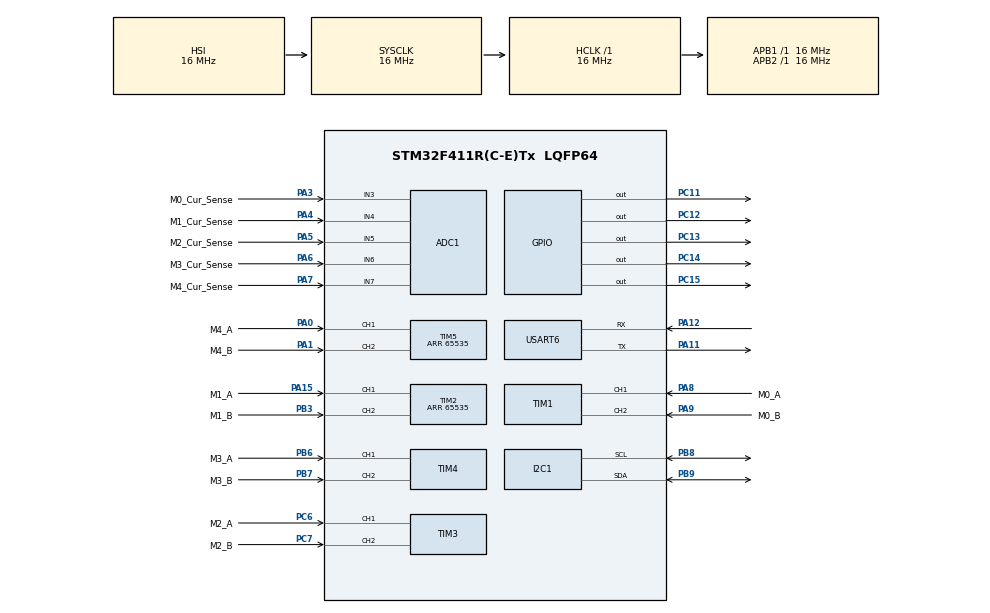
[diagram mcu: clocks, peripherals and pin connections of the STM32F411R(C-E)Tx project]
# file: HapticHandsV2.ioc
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ADC1.Channel-0\#ChannelRegularConversion=ADC_CHANNEL_3
ADC1.NbrOfConversionFlag=1
ADC1.Rank-0\#ChannelRegularConversion=1
ADC1.SamplingTime-0\#ChannelRegularConversion=ADC_SAMPLETIME_3CYCLES
ADC1.master=1
FREERTOS.Tasks01=defaultTask,24,128,StartDefaultTask,Default,NULL,Dynamic,NULL,NULL;readEncoder,8,128,ReadEncoder,Default,NULL,Dynamic,NULL,NULL
FREERTOS.configENABLE_FPU=1
Mcu.Family=STM32F4
Mcu.Name=STM32F411R(C-E)Tx
Mcu.Package=LQFP64
NVIC.PriorityGroup=NVIC_PRIORITYGROUP_4
PA0-WKUP.GPIO_Label=M4_A
PA0-WKUP.Signal=S_TIM5_CH1
PA1.GPIO_Label=M4_B
PA1.Signal=S_TIM5_CH2
PA11.Mode=Asynchronous
PA11.Signal=USART6_TX
PA12.Mode=Asynchronous
PA12.Signal=USART6_RX
PA13.Signal=SYS_JTMS-SWDIO
PA14.Signal=SYS_JTCK-SWCLK
PA15.GPIO_Label=M1_A
PA15.Signal=S_TIM2_CH1_ETR
PA3.GPIO_Label=M0_Cur_Sense
PA3.Signal=ADCx_IN3
PA4.GPIO_Label=M1_Cur_Sense
PA4.Signal=ADCx_IN4
PA5.GPIO_Label=M2_Cur_Sense
PA5.Signal=ADCx_IN5
PA6.GPIO_Label=M3_Cur_Sense
PA6.Signal=ADCx_IN6
PA7.GPIO_Label=M4_Cur_Sense
PA7.Signal=ADCx_IN7
PA8.GPIO_Label=M0_A
PA8.Signal=S_TIM1_CH1
PA9.GPIO_Label=M0_B
PA9.Signal=S_TIM1_CH2
PB3.GPIO_Label=M1_B
PB3.Signal=S_TIM2_CH2
PB6.GPIO_Label=M3_A
PB6.Signal=S_TIM4_CH1
PB7.GPIO_Label=M3_B
PB7.Signal=S_TIM4_CH2
PB8.Mode=I2C
PB8.Signal=I2C1_SCL
PB9.Mode=I2C
PB9.Signal=I2C1_SDA
PC11.Signal=GPIO_Output
PC12.Signal=GPIO_Output
PC13-ANTI_TAMP.Signal=GPIO_Output
PC14-OSC32_IN.Signal=GPIO_Output
PC15-OSC32_OUT.Signal=GPIO_Output
PC6.GPIO_Label=M2_A
PC6.Signal=S_TIM3_CH1
PC7.GPIO_Label=M2_B
PC7.Signal=S_TIM3_CH2
ProjectManager.HeapSize=0x200
ProjectManager.StackSize=0x400
ProjectManager.TargetToolchain=STM32CubeIDE
RCC.AHBFreq_Value=16000000
RCC.APB1Freq_Value=16000000
RCC.APB2Freq_Value=16000000
RCC.CortexFreq_Value=16000000
RCC.HSE_VALUE=25000000
RCC.HSI_VALUE=16000000
RCC.LSE_VALUE=32768
RCC.SYSCLKFreq_VALUE=16000000
RCC.VCOOutputFreq_Value=192000000
SH.ADCx_IN3.0=ADC1_IN3,IN3
SH.ADCx_IN4.0=ADC1_IN4,IN4
SH.ADCx_IN5.0=ADC1_IN5,IN5
SH.ADCx_IN6.0=ADC1_IN6,IN6
SH.ADCx_IN7.0=ADC1_IN7,IN7
SH.S_TIM1_CH1.0=TIM1_CH1,Encoder_Interface
SH.S_TIM1_CH2.0=TIM1_CH2,Encoder_Interface
SH.S_TIM2_CH1_ETR.0=TIM2_CH1,Encoder_Interface
SH.S_TIM2_CH2.0=TIM2_CH2,Encoder_Interface
SH.S_TIM3_CH1.0=TIM3_CH1,Encoder_Interface
SH.S_TIM3_CH2.0=TIM3_CH2,Encoder_Interface
SH.S_TIM4_CH1.0=TIM4_CH1,Encoder_Interface
SH.S_TIM4_CH2.0=TIM4_CH2,Encoder_Interface
SH.S_TIM5_CH1.0=TIM5_CH1,Encoder_Interface
SH.S_TIM5_CH2.0=TIM5_CH2,Encoder_Interface
TIM1.AutoReloadPreload=TIM_AUTORELOAD_PRELOAD_ENABLE
TIM2.AutoReloadPreload=TIM_AUTORELOAD_PRELOAD_ENABLE
TIM2.EncoderMode=TIM_ENCODERMODE_TI12
TIM2.Period=65535
TIM3.AutoReloadPreload=TIM_AUTORELOAD_PRELOAD_ENABLE
TIM3.EncoderMode=TIM_ENCODERMODE_TI12
TIM4.AutoReloadPreload=TIM_AUTORELOAD_PRELOAD_ENABLE
TIM4.EncoderMode=TIM_ENCODERMODE_TI12
TIM5.AutoReloadPreload=TIM_AUTORELOAD_PRELOAD_ENABLE
TIM5.EncoderMode=TIM_ENCODERMODE_TI12
TIM5.Period=65535
USART6.VirtualMode=VM_ASYNC
VP_FREERTOS_VS_CMSIS_V2.Mode=CMSIS_V2
board=custom

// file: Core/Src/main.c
/* USER CODE BEGIN Header */
/**
  ******************************************************************************
  * @file           : main.c
  * @brief          : Main program body
  ******************************************************************************
  * @attention
  *
  * Copyright (c) 2024 STMicroelectronics.
  * All rights reserved.
  *
  * This software is licensed under terms that can be found in the LICENSE file
  * in the root directory of this software component.
  * If no LICENSE file comes with this software, it is provided AS-IS.
  *
  ******************************************************************************
  */
/* USER CODE END Header */
#include "main.h"
#include "cmsis_os.h"

ADC_HandleTypeDef hadc1;

I2C_HandleTypeDef hi2c1;

TIM_HandleTypeDef htim1;
TIM_HandleTypeDef htim2;
TIM_HandleTypeDef htim3;
TIM_HandleTypeDef htim4;
TIM_HandleTypeDef htim5;

UART_HandleTypeDef huart6;

/* Definitions for defaultTask */
osThreadId_t defaultTaskHandle;
const osThreadAttr_t defaultTask_attributes = {
  .name = "defaultTask",
  .stack_size = 128 * 4,
  .priority = (osPriority_t) osPriorityNormal,
};
/* Definitions for readEncoder */
osThreadId_t readEncoderHandle;
const osThreadAttr_t readEncoder_attributes = {
  .name = "readEncoder",
  .stack_size = 128 * 4,
  .priority = (osPriority_t) osPriorityLow,
};
/* USER CODE BEGIN PV */

uint16_t EncoderCounts[5] = {};

/* USER CODE END PV */

void SystemClock_Config(void);
static void MX_GPIO_Init(void);
static void MX_ADC1_Init(void);
static void MX_TIM1_Init(void);
static void MX_TIM2_Init(void);
static void MX_TIM3_Init(void);
static void MX_TIM4_Init(void);
static void MX_TIM5_Init(void);
static void MX_USART6_UART_Init(void);
static void MX_I2C1_Init(void);
void StartDefaultTask(void *argument);
void ReadEncoder(void *argument);

int main(void)
{

  /* MCU Configuration--------------------------------------------------------*/

  /* Reset of all peripherals, Initializes the Flash interface and the Systick. */
  HAL_Init();

  /* Configure the system clock */
  SystemClock_Config();

  /* Initialize all configured peripherals */
  MX_GPIO_Init();
  MX_ADC1_Init();
  MX_TIM1_Init();
  MX_TIM2_Init();
  MX_TIM3_Init();
  MX_TIM4_Init();
  MX_TIM5_Init();
  MX_USART6_UART_Init();
  MX_I2C1_Init();
  /* USER CODE BEGIN 2 */

  // Initialize NVIC Priority group
  // Required for proper priority control between tasks and interrupts
  // See configASSERT in port.c for more info
  NVIC_SetPriorityGrouping(0);

  // Start all encoders
  HAL_TIM_Encoder_Start(&htim1, TIM_CHANNEL_ALL);
  HAL_TIM_Encoder_Start(&htim2, TIM_CHANNEL_ALL);
  HAL_TIM_Encoder_Start(&htim3, TIM_CHANNEL_ALL);
  HAL_TIM_Encoder_Start(&htim4, TIM_CHANNEL_ALL);
  HAL_TIM_Encoder_Start(&htim5, TIM_CHANNEL_ALL);

  /* USER CODE END 2 */

  /* Init scheduler */
  osKernelInitialize();

  /* Create the thread(s) */
  /* creation of defaultTask */
  defaultTaskHandle = osThreadNew(StartDefaultTask, NULL, &defaultTask_attributes);

  /* creation of readEncoder */
  readEncoderHandle = osThreadNew(ReadEncoder, NULL, &readEncoder_attributes);

  /* Start scheduler */
  osKernelStart();

  /* We should never get here as control is now taken by the scheduler */
  /* Infinite loop */
  while (1)
  {

  }
}

void SystemClock_Config(void)
{
  RCC_OscInitTypeDef RCC_OscInitStruct = {0};
  RCC_ClkInitTypeDef RCC_ClkInitStruct = {0};

  /** Configure the main internal regulator output voltage
  */
  __HAL_RCC_PWR_CLK_ENABLE();
  __HAL_PWR_VOLTAGESCALING_CONFIG(PWR_REGULATOR_VOLTAGE_SCALE1);

  /** Initializes the RCC Oscillators according to the specified parameters
  * in the RCC_OscInitTypeDef structure.
  */
  RCC_OscInitStruct.OscillatorType = RCC_OSCILLATORTYPE_HSI;
  RCC_OscInitStruct.HSIState = RCC_HSI_ON;
  RCC_OscInitStruct.HSICalibrationValue = RCC_HSICALIBRATION_DEFAULT;
  RCC_OscInitStruct.PLL.PLLState = RCC_PLL_NONE;
  if (HAL_RCC_OscConfig(&RCC_OscInitStruct) != HAL_OK)
  {
    Error_Handler();
  }

  /** Initializes the CPU, AHB and APB buses clocks
  */
  RCC_ClkInitStruct.ClockType = RCC_CLOCKTYPE_HCLK|RCC_CLOCKTYPE_SYSCLK
                              |RCC_CLOCKTYPE_PCLK1|RCC_CLOCKTYPE_PCLK2;
  RCC_ClkInitStruct.SYSCLKSource = RCC_SYSCLKSOURCE_HSI;
  RCC_ClkInitStruct.AHBCLKDivider = RCC_SYSCLK_DIV1;
  RCC_ClkInitStruct.APB1CLKDivider = RCC_HCLK_DIV1;
  RCC_ClkInitStruct.APB2CLKDivider = RCC_HCLK_DIV1;

  if (HAL_RCC_ClockConfig(&RCC_ClkInitStruct, FLASH_LATENCY_0) != HAL_OK)
  {
    Error_Handler();
  }
}

static void MX_ADC1_Init(void)
{

  ADC_ChannelConfTypeDef sConfig = {0};

  /** Configure the global features of the ADC (Clock, Resolution, Data Alignment and number of conversion)
  */
  hadc1.Instance = ADC1;
  hadc1.Init.ClockPrescaler = ADC_CLOCK_SYNC_PCLK_DIV2;
  hadc1.Init.Resolution = ADC_RESOLUTION_12B;
  hadc1.Init.ScanConvMode = DISABLE;
  hadc1.Init.ContinuousConvMode = DISABLE;
  hadc1.Init.DiscontinuousConvMode = DISABLE;
  hadc1.Init.ExternalTrigConvEdge = ADC_EXTERNALTRIGCONVEDGE_NONE;
  hadc1.Init.ExternalTrigConv = ADC_SOFTWARE_START;
  hadc1.Init.DataAlign = ADC_DATAALIGN_RIGHT;
  hadc1.Init.NbrOfConversion = 1;
  hadc1.Init.DMAContinuousRequests = DISABLE;
  hadc1.Init.EOCSelection = ADC_EOC_SINGLE_CONV;
  if (HAL_ADC_Init(&hadc1) != HAL_OK)
  {
    Error_Handler();
  }

  /** Configure for the selected ADC regular channel its corresponding rank in the sequencer and its sample time.
  */
  sConfig.Channel = ADC_CHANNEL_3;
  sConfig.Rank = 1;
  sConfig.SamplingTime = ADC_SAMPLETIME_3CYCLES;
  if (HAL_ADC_ConfigChannel(&hadc1, &sConfig) != HAL_OK)
  {
    Error_Handler();
  }

}

static void MX_I2C1_Init(void)
{

  hi2c1.Instance = I2C1;
  hi2c1.Init.ClockSpeed = 100000;
  hi2c1.Init.DutyCycle = I2C_DUTYCYCLE_2;
  hi2c1.Init.OwnAddress1 = 0;
  hi2c1.Init.AddressingMode = I2C_ADDRESSINGMODE_7BIT;
  hi2c1.Init.DualAddressMode = I2C_DUALADDRESS_DISABLE;
  hi2c1.Init.OwnAddress2 = 0;
  hi2c1.Init.GeneralCallMode = I2C_GENERALCALL_DISABLE;
  hi2c1.Init.NoStretchMode = I2C_NOSTRETCH_DISABLE;
  if (HAL_I2C_Init(&hi2c1) != HAL_OK)
  {
    Error_Handler();
  }

}

static void MX_TIM1_Init(void)
{

  TIM_Encoder_InitTypeDef sConfig = {0};
  TIM_MasterConfigTypeDef sMasterConfig = {0};

  htim1.Instance = TIM1;
  htim1.Init.Prescaler = 0;
  htim1.Init.CounterMode = TIM_COUNTERMODE_UP;
  htim1.Init.Period = 65535;
  htim1.Init.ClockDivision = TIM_CLOCKDIVISION_DIV1;
  htim1.Init.RepetitionCounter = 0;
  htim1.Init.AutoReloadPreload = TIM_AUTORELOAD_PRELOAD_ENABLE;
  sConfig.EncoderMode = TIM_ENCODERMODE_TI1;
  sConfig.IC1Polarity = TIM_ICPOLARITY_RISING;
  sConfig.IC1Selection = TIM_ICSELECTION_DIRECTTI;
  sConfig.IC1Prescaler = TIM_ICPSC_DIV1;
  sConfig.IC1Filter = 0;
  sConfig.IC2Polarity = TIM_ICPOLARITY_RISING;
  sConfig.IC2Selection = TIM_ICSELECTION_DIRECTTI;
  sConfig.IC2Prescaler = TIM_ICPSC_DIV1;
  sConfig.IC2Filter = 0;
  if (HAL_TIM_Encoder_Init(&htim1, &sConfig) != HAL_OK)
  {
    Error_Handler();
  }
  sMasterConfig.MasterOutputTrigger = TIM_TRGO_RESET;
  sMasterConfig.MasterSlaveMode = TIM_MASTERSLAVEMODE_DISABLE;
  if (HAL_TIMEx_MasterConfigSynchronization(&htim1, &sMasterConfig) != HAL_OK)
  {
    Error_Handler();
  }

}

static void MX_TIM2_Init(void)
{

  TIM_Encoder_InitTypeDef sConfig = {0};
  TIM_MasterConfigTypeDef sMasterConfig = {0};

  htim2.Instance = TIM2;
  htim2.Init.Prescaler = 0;
  htim2.Init.CounterMode = TIM_COUNTERMODE_UP;
  htim2.Init.Period = 65535;
  htim2.Init.ClockDivision = TIM_CLOCKDIVISION_DIV1;
  htim2.Init.AutoReloadPreload = TIM_AUTORELOAD_PRELOAD_ENABLE;
  sConfig.EncoderMode = TIM_ENCODERMODE_TI12;
  sConfig.IC1Polarity = TIM_ICPOLARITY_RISING;
  sConfig.IC1Selection = TIM_ICSELECTION_DIRECTTI;
  sConfig.IC1Prescaler = TIM_ICPSC_DIV1;
  sConfig.IC1Filter = 0;
  sConfig.IC2Polarity = TIM_ICPOLARITY_RISING;
  sConfig.IC2Selection = TIM_ICSELECTION_DIRECTTI;
  sConfig.IC2Prescaler = TIM_ICPSC_DIV1;
  sConfig.IC2Filter = 0;
  if (HAL_TIM_Encoder_Init(&htim2, &sConfig) != HAL_OK)
  {
    Error_Handler();
  }
  sMasterConfig.MasterOutputTrigger = TIM_TRGO_RESET;
  sMasterConfig.MasterSlaveMode = TIM_MASTERSLAVEMODE_DISABLE;
  if (HAL_TIMEx_MasterConfigSynchronization(&htim2, &sMasterConfig) != HAL_OK)
  {
    Error_Handler();
  }

}

static void MX_TIM3_Init(void)
{

  TIM_Encoder_InitTypeDef sConfig = {0};
  TIM_MasterConfigTypeDef sMasterConfig = {0};

  htim3.Instance = TIM3;
  htim3.Init.Prescaler = 0;
  htim3.Init.CounterMode = TIM_COUNTERMODE_UP;
  htim3.Init.Period = 65535;
  htim3.Init.ClockDivision = TIM_CLOCKDIVISION_DIV1;
  htim3.Init.AutoReloadPreload = TIM_AUTORELOAD_PRELOAD_ENABLE;
  sConfig.EncoderMode = TIM_ENCODERMODE_TI12;
  sConfig.IC1Polarity = TIM_ICPOLARITY_RISING;
  sConfig.IC1Selection = TIM_ICSELECTION_DIRECTTI;
  sConfig.IC1Prescaler = TIM_ICPSC_DIV1;
  sConfig.IC1Filter = 0;
  sConfig.IC2Polarity = TIM_ICPOLARITY_RISING;
  sConfig.IC2Selection = TIM_ICSELECTION_DIRECTTI;
  sConfig.IC2Prescaler = TIM_ICPSC_DIV1;
  sConfig.IC2Filter = 0;
  if (HAL_TIM_Encoder_Init(&htim3, &sConfig) != HAL_OK)
  {
    Error_Handler();
  }
  sMasterConfig.MasterOutputTrigger = TIM_TRGO_RESET;
  sMasterConfig.MasterSlaveMode = TIM_MASTERSLAVEMODE_DISABLE;
  if (HAL_TIMEx_MasterConfigSynchronization(&htim3, &sMasterConfig) != HAL_OK)
  {
    Error_Handler();
  }

}

static void MX_TIM4_Init(void)
{

  TIM_Encoder_InitTypeDef sConfig = {0};
  TIM_MasterConfigTypeDef sMasterConfig = {0};

  htim4.Instance = TIM4;
  htim4.Init.Prescaler = 0;
  htim4.Init.CounterMode = TIM_COUNTERMODE_UP;
  htim4.Init.Period = 65535;
  htim4.Init.ClockDivision = TIM_CLOCKDIVISION_DIV1;
  htim4.Init.AutoReloadPreload = TIM_AUTORELOAD_PRELOAD_ENABLE;
  sConfig.EncoderMode = TIM_ENCODERMODE_TI12;
  sConfig.IC1Polarity = TIM_ICPOLARITY_RISING;
  sConfig.IC1Selection = TIM_ICSELECTION_DIRECTTI;
  sConfig.IC1Prescaler = TIM_ICPSC_DIV1;
  sConfig.IC1Filter = 0;
  sConfig.IC2Polarity = TIM_ICPOLARITY_RISING;
  sConfig.IC2Selection = TIM_ICSELECTION_DIRECTTI;
  sConfig.IC2Prescaler = TIM_ICPSC_DIV1;
  sConfig.IC2Filter = 0;
  if (HAL_TIM_Encoder_Init(&htim4, &sConfig) != HAL_OK)
  {
    Error_Handler();
  }
  sMasterConfig.MasterOutputTrigger = TIM_TRGO_RESET;
  sMasterConfig.MasterSlaveMode = TIM_MASTERSLAVEMODE_DISABLE;
  if (HAL_TIMEx_MasterConfigSynchronization(&htim4, &sMasterConfig) != HAL_OK)
  {
    Error_Handler();
  }

}

static void MX_TIM5_Init(void)
{

  TIM_Encoder_InitTypeDef sConfig = {0};
  TIM_MasterConfigTypeDef sMasterConfig = {0};

  htim5.Instance = TIM5;
  htim5.Init.Prescaler = 0;
  htim5.Init.CounterMode = TIM_COUNTERMODE_UP;
  htim5.Init.Period = 65535;
  htim5.Init.ClockDivision = TIM_CLOCKDIVISION_DIV1;
  htim5.Init.AutoReloadPreload = TIM_AUTORELOAD_PRELOAD_ENABLE;
  sConfig.EncoderMode = TIM_ENCODERMODE_TI12;
  sConfig.IC1Polarity = TIM_ICPOLARITY_RISING;
  sConfig.IC1Selection = TIM_ICSELECTION_DIRECTTI;
  sConfig.IC1Prescaler = TIM_ICPSC_DIV1;
  sConfig.IC1Filter = 0;
  sConfig.IC2Polarity = TIM_ICPOLARITY_RISING;
  sConfig.IC2Selection = TIM_ICSELECTION_DIRECTTI;
  sConfig.IC2Prescaler = TIM_ICPSC_DIV1;
  sConfig.IC2Filter = 0;
  if (HAL_TIM_Encoder_Init(&htim5, &sConfig) != HAL_OK)
  {
    Error_Handler();
  }
  sMasterConfig.MasterOutputTrigger = TIM_TRGO_RESET;
  sMasterConfig.MasterSlaveMode = TIM_MASTERSLAVEMODE_DISABLE;
  if (HAL_TIMEx_MasterConfigSynchronization(&htim5, &sMasterConfig) != HAL_OK)
  {
    Error_Handler();
  }

}

static void MX_USART6_UART_Init(void)
{

  huart6.Instance = USART6;
  huart6.Init.BaudRate = 115200;
  huart6.Init.WordLength = UART_WORDLENGTH_8B;
  huart6.Init.StopBits = UART_STOPBITS_1;
  huart6.Init.Parity = UART_PARITY_NONE;
  huart6.Init.Mode = UART_MODE_TX_RX;
  huart6.Init.HwFlowCtl = UART_HWCONTROL_NONE;
  huart6.Init.OverSampling = UART_OVERSAMPLING_16;
  if (HAL_UART_Init(&huart6) != HAL_OK)
  {
    Error_Handler();
  }

}

static void MX_GPIO_Init(void)
{
  GPIO_InitTypeDef GPIO_InitStruct = {0};

  /* GPIO Ports Clock Enable */
  __HAL_RCC_GPIOC_CLK_ENABLE();
  __HAL_RCC_GPIOA_CLK_ENABLE();
  __HAL_RCC_GPIOB_CLK_ENABLE();

  /*Configure GPIO pin Output Level */
  HAL_GPIO_WritePin(GPIOC, GPIO_PIN_13|GPIO_PIN_14|GPIO_PIN_15|GPIO_PIN_11
                          |GPIO_PIN_12, GPIO_PIN_RESET);

  /*Configure GPIO pins : PC13 PC14 PC15 PC11
                           PC12 */
  GPIO_InitStruct.Pin = GPIO_PIN_13|GPIO_PIN_14|GPIO_PIN_15|GPIO_PIN_11
                          |GPIO_PIN_12;
  GPIO_InitStruct.Mode = GPIO_MODE_OUTPUT_PP;
  GPIO_InitStruct.Pull = GPIO_NOPULL;
  GPIO_InitStruct.Speed = GPIO_SPEED_FREQ_LOW;
  HAL_GPIO_Init(GPIOC, &GPIO_InitStruct);

}

void StartDefaultTask(void *argument)
{
  for(;;)
  {
    osDelay(1);
  }
}

void ReadEncoder(void *argument)
{
  /* USER CODE BEGIN ReadEncoder */
  TickType_t xLastWakeTime;
  // How often to run, ie. every 10 ms
  const TickType_t xFrequency = 100;
  xLastWakeTime = xTaskGetTickCount();

  /* Infinite loop */
  for(;;)
  {
	  vTaskDelayUntil(&xLastWakeTime, xFrequency);

	  EncoderCounts[0] = (TIM1->CNT)>>2;
	  EncoderCounts[1] = (TIM2->CNT)>>2;
	  EncoderCounts[2] = (TIM3->CNT)>>2;
	  EncoderCounts[3] = (TIM4->CNT)>>2;
	  EncoderCounts[4] = (TIM5->CNT)>>2;

  }
  /* USER CODE END ReadEncoder */
}

void Error_Handler(void)
{
  __disable_irq();
  while (1)
  {
  }
}
